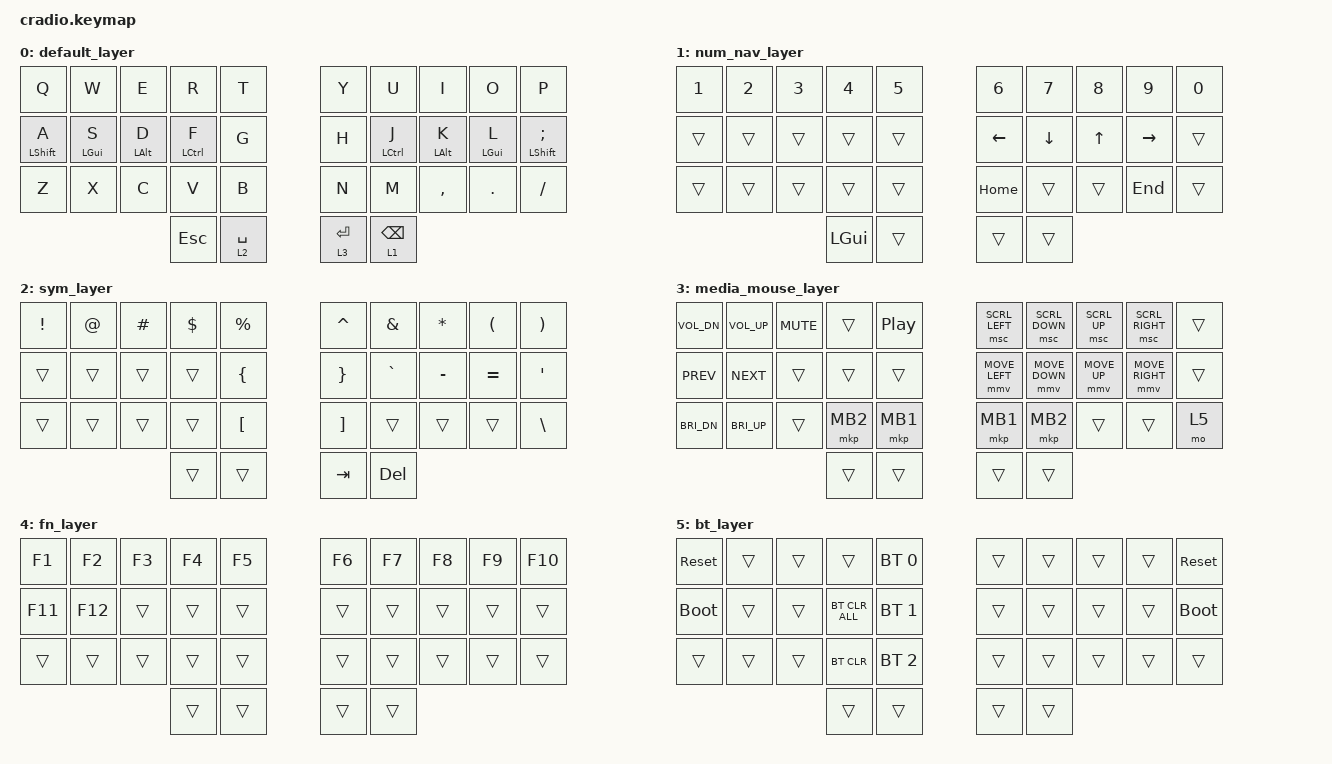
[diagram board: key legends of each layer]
// Copyright (c) 2022 The ZMK Contributors
// SPDX-License-Identifier: MIT

#define ZMK_POINTING_DEFAULT_MOVE_VAL 1500
#define ZMK_POINTING_DEFAULT_SCRL_VAL 20

#include <behaviors.dtsi>
#include <dt-bindings/zmk/bt.h>
#include <dt-bindings/zmk/keys.h>
#include <dt-bindings/zmk/pointing.h>

&lt { quick-tap-ms = <175>; };

/ {
    behaviors {
        hm: home_row_mod {
            compatible = "zmk,behavior-hold-tap";
            #binding-cells = <2>;
            // flavor = "tap-preferred";
            flavor = "balanced";
            tapping-term-ms = <220>;
            quick-tap-ms = <150>;
            require-prior-idle-ms = <100>;
            bindings = <&kp>, <&kp>;
        };
    };

    keymap {
        compatible = "zmk,keymap";

        default_layer {
            bindings = <
&kp Q        &kp W       &kp E       &kp R        &kp T          &kp Y        &kp U            &kp I       &kp O       &kp P
&hm LSHFT A  &hm LGUI S  &hm LALT D  &hm LCTRL F  &kp G          &kp H        &hm LCTRL J      &hm LALT K  &hm LGUI L  &hm LSHFT SEMI
&kp Z        &kp X       &kp C       &kp V        &kp B          &kp N        &kp M            &kp COMMA   &kp DOT     &kp FSLH
                                     &kp ESC      &lt 2 SPACE    &lt 3 ENTER  &lt 1 BACKSPACE
            >;
        };

        num_nav_layer {
            bindings = <
&kp N1  &kp N2  &kp N3  &kp N4    &kp N5    &kp N6          &kp N7          &kp N8        &kp N9           &kp N0
&trans  &trans  &trans  &trans    &trans    &kp LEFT_ARROW  &kp DOWN_ARROW  &kp UP_ARROW  &kp RIGHT_ARROW  &trans
&trans  &trans  &trans  &trans    &trans    &kp HOME        &trans          &trans        &kp END          &trans
                        &kp LGUI  &trans    &trans          &trans
            >;
        };

        sym_layer {
            bindings = <
&kp EXCL  &kp AT  &kp HASH  &kp DLLR  &kp PRCNT    &kp CARET  &kp AMPS    &kp ASTRK  &kp LPAR   &kp RPAR
&trans    &trans  &trans    &trans    &kp LBRC     &kp RBRC   &kp GRAVE   &kp MINUS  &kp EQUAL  &kp SQT
&trans    &trans  &trans    &trans    &kp LBKT     &kp RBKT   &trans      &trans     &trans     &kp BSLH
                            &trans    &trans       &kp TAB    &kp DELETE
            >;
        };

        media_mouse_layer {
            bindings = <
&kp C_VOL_DN  &kp C_VOL_UP  &kp C_MUTE  &trans    &kp C_PP    &msc SCRL_LEFT  &msc SCRL_DOWN  &msc SCRL_UP  &msc SCRL_RIGHT  &trans
&kp C_PREV    &kp C_NEXT    &trans      &trans    &trans      &mmv MOVE_LEFT  &mmv MOVE_DOWN  &mmv MOVE_UP  &mmv MOVE_RIGHT  &trans
&kp C_BRI_DN  &kp C_BRI_UP  &trans      &mkp MB2  &mkp MB1    &mkp MB1        &mkp MB2        &trans        &trans           &mo 5
                                        &trans    &trans      &trans          &trans
            >;
        };

        fn_layer {
            bindings = <
&kp F1   &kp F2   &kp F3  &kp F4  &kp F5    &kp F6  &kp F7  &kp F8  &kp F9  &kp F10
&kp F11  &kp F12  &trans  &trans  &trans    &trans  &trans  &trans  &trans  &trans
&trans   &trans   &trans  &trans  &trans    &trans  &trans  &trans  &trans  &trans
                          &trans  &trans    &trans  &trans
            >;
        };

        bt_layer {
            bindings = <
&sys_reset   &trans  &trans  &trans          &bt BT_SEL 0    &trans  &trans  &trans  &trans  &sys_reset
&bootloader  &trans  &trans  &bt BT_CLR_ALL  &bt BT_SEL 1    &trans  &trans  &trans  &trans  &bootloader
&trans       &trans  &trans  &bt BT_CLR      &bt BT_SEL 2    &trans  &trans  &trans  &trans  &trans
                             &trans          &trans          &trans  &trans
            >;
        };
    };
};
